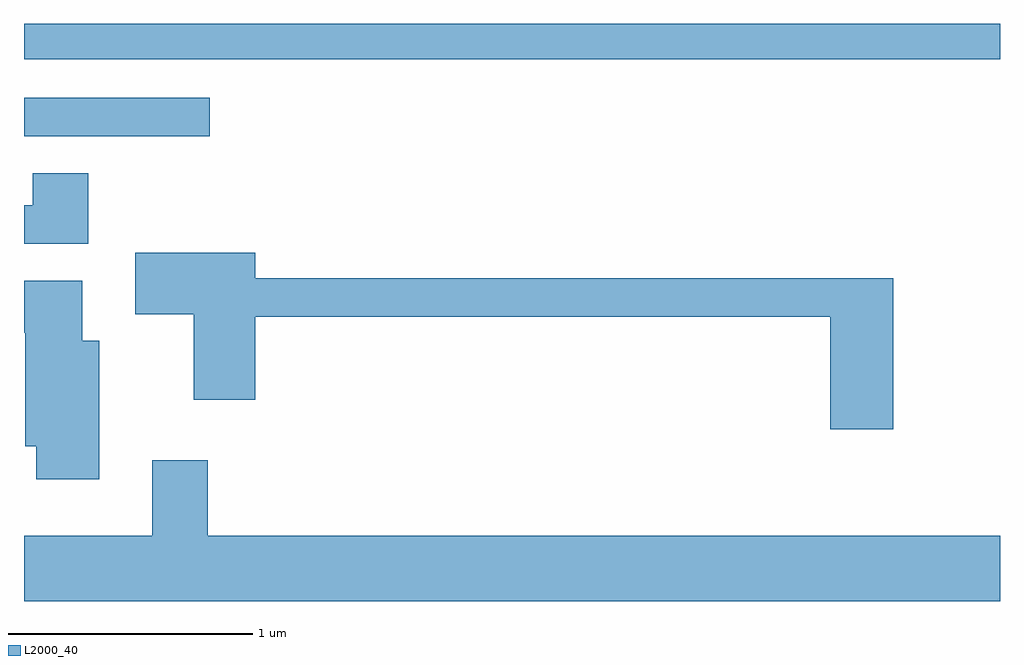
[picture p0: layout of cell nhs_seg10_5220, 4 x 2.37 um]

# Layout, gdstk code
import gdstk
lib = gdstk.Library(unit=1e-6, precision=1e-09)
def R(c, l, rs):  # rectangles x0, y0, x1, y1
    for r in rs: c.add(gdstk.rectangle(r[:2], r[2:], *l))
def P(c, l, *ps):  # polygons
    for p in ps: c.add(gdstk.Polygon(p, *l))
L2000_40 = (2000, 40)

nhs_seg10_5220 = lib.new_cell('nhs_seg10_5220')
R(nhs_seg10_5220, L2000_40, [(339.611,2098.061,340.373,2098.219), (339.611,2098.376,343.611,2098.522)])
P(nhs_seg10_5220, L2000_40, [(339.874,2097.909),(339.646,2097.909),(339.646,2097.779),(339.611,2097.779),(339.611,2097.621),(339.874,2097.621)],
  [(343.174,2097.479),(340.559,2097.479),(340.559,2097.584),(340.066,2097.584),(340.066,2097.331),(340.306,2097.331),(340.306,2096.981),(340.559,2096.981),(340.559,2097.321),(342.916,2097.321),(342.916,2096.861),(343.174,2096.861)],
  [(339.919,2097.224),(339.849,2097.224),(339.849,2097.469),(339.611,2097.469),(339.611,2097.256),(339.616,2097.256),(339.616,2096.791),(339.661,2096.791),(339.661,2096.656),(339.919,2096.656)],
  [(343.611,2096.424),(340.364,2096.424),(340.364,2096.734),(340.136,2096.734),(340.136,2096.424),(339.611,2096.424),(339.611,2096.156),(343.611,2096.156)])

lib.write_gds('nhs_seg10_5220.gds')
